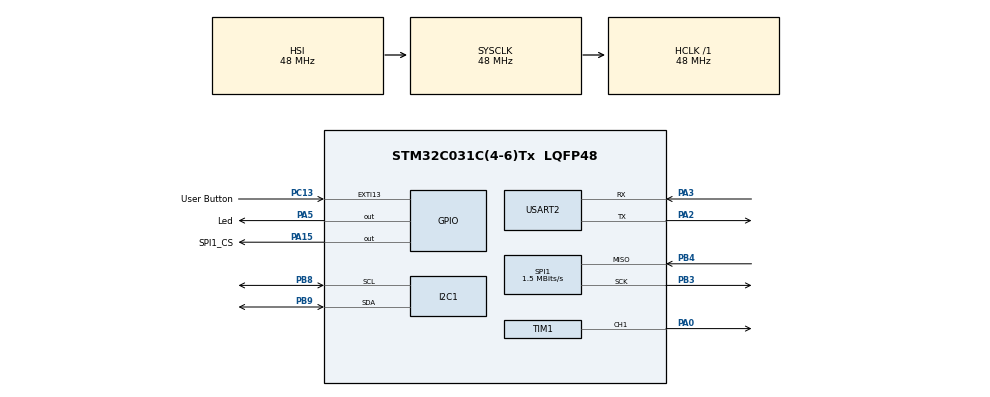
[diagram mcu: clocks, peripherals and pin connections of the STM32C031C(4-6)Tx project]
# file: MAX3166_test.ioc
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I2C1.Timing=0x20303E5D
Mcu.Family=STM32C0
Mcu.Name=STM32C031C(4-6)Tx
Mcu.Package=LQFP48
NVIC.EXTI4_15_IRQn=true\:0\:0\:false\:false\:true\:true\:true\:true
PA0.Signal=S_TIM1_CH1
PA13.Mode=Serial_Wire
PA13.Signal=DEBUG_SWDIO
PA14-BOOT0.Mode=Serial_Wire
PA14-BOOT0.Signal=DEBUG_SWCLK
PA15.GPIO_Label=SPI1_CS
PA15.Signal=GPIO_Output
PA2.Mode=Asynchronous
PA2.Signal=USART2_TX
PA3.Mode=Asynchronous
PA3.Signal=USART2_RX
PA5.GPIO_Label=Led
PA5.GPIO_Speed=GPIO_SPEED_FREQ_VERY_HIGH
PA5.PinState=GPIO_PIN_SET
PA5.Signal=GPIO_Output
PB3.Mode=RX_Only_Simplex_Unidirect_Master
PB3.Signal=SPI1_SCK
PB4.Mode=RX_Only_Simplex_Unidirect_Master
PB4.Signal=SPI1_MISO
PB6.Signal=USART1_TX
PB7.Signal=USART1_RX
PB8.Mode=I2C
PB8.Signal=I2C1_SCL
PB9.Mode=I2C
PB9.Signal=I2C1_SDA
PC13.GPIO_Label=User Button
PC13.Signal=GPXTI13
PC14-OSCX_IN\ (PC14).Mode=LSE-External-Oscillator
PC14-OSCX_IN\ (PC14).Signal=RCC_OSCX_IN
PC15-OSCX_OUT\ (PC15).Mode=LSE-External-Oscillator
PC15-OSCX_OUT\ (PC15).Signal=RCC_OSCX_OUT
PF0-OSC_IN\ (PF0).Mode=HSE-External-Oscillator
PF0-OSC_IN\ (PF0).Signal=RCC_OSC_IN
PF1-OSC_OUT\ (PF1).Mode=HSE-External-Oscillator
PF1-OSC_OUT\ (PF1).Signal=RCC_OSC_OUT
ProjectManager.HeapSize=0x200
ProjectManager.StackSize=0x400
ProjectManager.TargetToolchain=STM32CubeIDE
RCC.ADCFreq_Value=48000000
RCC.AHBFreq_Value=48000000
RCC.CortexFreq_Value=48000000
RCC.EXTERNAL_CLOCK_VALUE=12288000
RCC.HCLKFreq_Value=48000000
RCC.HSE_VALUE=48000000
RCC.HSISYSCLKDivider=RCC_HSI_DIV1
RCC.HSI_VALUE=48000000
RCC.SYSCLKFreq_VALUE=48000000
SH.S_TIM1_CH1.0=TIM1_CH1,PWM Generation1 CH1
SPI1.BaudRatePrescaler=SPI_BAUDRATEPRESCALER_32
SPI1.CalculateBaudRate=1.5 MBits/s
SPI1.Direction=SPI_DIRECTION_2LINES_RXONLY
SPI1.Mode=SPI_MODE_MASTER
SPI1.VirtualType=VM_MASTER
TIM1.AutoReloadPreload=TIM_AUTORELOAD_PRELOAD_ENABLE
TIM1.Channel-PWM\ Generation1\ CH1=TIM_CHANNEL_1
TIM1.Period=255
USART2.VirtualMode-Asynchronous=VM_ASYNC
board=NUCLEO-C031C6

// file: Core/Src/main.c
/* USER CODE BEGIN Header */
/**
  ******************************************************************************
  * @file           : main.c
  * @brief          : Main program body
  ******************************************************************************
  * @attention
  *
  * Copyright (c) 2024 STMicroelectronics.
  * All rights reserved.
  *
  * This software is licensed under terms that can be found in the LICENSE file
  * in the root directory of this software component.
  * If no LICENSE file comes with this software, it is provided AS-IS.
  *
  ******************************************************************************
  */
/* USER CODE END Header */
#include "main.h"

/* USER CODE BEGIN Includes */
#include <stdio.h>
#include "MAX31855.h"
#include <string.h>

/* USER CODE END Includes */

I2C_HandleTypeDef hi2c1;

SPI_HandleTypeDef hspi1;

TIM_HandleTypeDef htim1;

UART_HandleTypeDef huart2;

/* USER CODE BEGIN PV */
MAX31855_HandleTypeDef max31855;

/* USER CODE END PV */

void SystemClock_Config(void);
static void MX_GPIO_Init(void);
static void MX_SPI1_Init(void);
static void MX_USART2_UART_Init(void);
static void MX_I2C1_Init(void);
static void MX_TIM1_Init(void);

int main(void)
{

  /* USER CODE BEGIN 1 */
	char uart_buf[50];
	int uart_buf_len;

  /* USER CODE END 1 */

  /* MCU Configuration--------------------------------------------------------*/

  /* Reset of all peripherals, Initializes the Flash interface and the Systick. */
  HAL_Init();

  /* Configure the system clock */
  SystemClock_Config();

  /* Initialize all configured peripherals */
  MX_GPIO_Init();
  MX_SPI1_Init();
  MX_USART2_UART_Init();
  MX_I2C1_Init();
  MX_TIM1_Init();
  /* USER CODE BEGIN 2 */
  HAL_TIM_PWM_Start(&htim1, TIM_CHANNEL_1);

  /*
   * MISO is PB4/D5
   * CLK is PB3/D3
   * CS is PA15/D7
   */
  MAX_Init(&max31855, &hspi1, GPIO_PIN_15, GPIOA);

  //Say something
  uart_buf_len = sprintf(uart_buf, "SPI Test\r\n");
  HAL_UART_Transmit(&huart2, (uint8_t *) uart_buf, uart_buf_len, 100);

  uint16_t celcius = 0;

  /* USER CODE END 2 */

  /* Infinite loop */
  /* USER CODE BEGIN WHILE */
  while (1)
  {
	  celcius = MAX_GetCelcius(&max31855);

	  sprintf(uart_buf, "Temp in C: %d, SPI error:%lu\r\n", celcius, HAL_SPI_GetError(&hspi1));
	  HAL_UART_Transmit(&huart2, (uint8_t *) uart_buf, strlen(uart_buf), 100);

	  HAL_Delay(1000);

    /* USER CODE END WHILE */

  }
}

void SystemClock_Config(void)
{
  RCC_OscInitTypeDef RCC_OscInitStruct = {0};
  RCC_ClkInitTypeDef RCC_ClkInitStruct = {0};

  /** Initializes the RCC Oscillators according to the specified parameters
  * in the RCC_OscInitTypeDef structure.
  */
  RCC_OscInitStruct.OscillatorType = RCC_OSCILLATORTYPE_HSI;
  RCC_OscInitStruct.HSIState = RCC_HSI_ON;
  RCC_OscInitStruct.HSIDiv = RCC_HSI_DIV1;
  RCC_OscInitStruct.HSICalibrationValue = RCC_HSICALIBRATION_DEFAULT;
  if (HAL_RCC_OscConfig(&RCC_OscInitStruct) != HAL_OK)
  {
    Error_Handler();
  }

  /** Initializes the CPU, AHB and APB buses clocks
  */
  RCC_ClkInitStruct.ClockType = RCC_CLOCKTYPE_HCLK|RCC_CLOCKTYPE_SYSCLK
                              |RCC_CLOCKTYPE_PCLK1;
  RCC_ClkInitStruct.SYSCLKSource = RCC_SYSCLKSOURCE_HSI;
  RCC_ClkInitStruct.SYSCLKDivider = RCC_SYSCLK_DIV1;
  RCC_ClkInitStruct.AHBCLKDivider = RCC_HCLK_DIV1;
  RCC_ClkInitStruct.APB1CLKDivider = RCC_APB1_DIV1;

  if (HAL_RCC_ClockConfig(&RCC_ClkInitStruct, FLASH_LATENCY_1) != HAL_OK)
  {
    Error_Handler();
  }
}

static void MX_I2C1_Init(void)
{

  hi2c1.Instance = I2C1;
  hi2c1.Init.Timing = 0x20303E5D;
  hi2c1.Init.OwnAddress1 = 0;
  hi2c1.Init.AddressingMode = I2C_ADDRESSINGMODE_7BIT;
  hi2c1.Init.DualAddressMode = I2C_DUALADDRESS_DISABLE;
  hi2c1.Init.OwnAddress2 = 0;
  hi2c1.Init.OwnAddress2Masks = I2C_OA2_NOMASK;
  hi2c1.Init.GeneralCallMode = I2C_GENERALCALL_DISABLE;
  hi2c1.Init.NoStretchMode = I2C_NOSTRETCH_DISABLE;
  if (HAL_I2C_Init(&hi2c1) != HAL_OK)
  {
    Error_Handler();
  }

  /** Configure Analogue filter
  */
  if (HAL_I2CEx_ConfigAnalogFilter(&hi2c1, I2C_ANALOGFILTER_ENABLE) != HAL_OK)
  {
    Error_Handler();
  }

  /** Configure Digital filter
  */
  if (HAL_I2CEx_ConfigDigitalFilter(&hi2c1, 0) != HAL_OK)
  {
    Error_Handler();
  }

}

static void MX_SPI1_Init(void)
{

  /* SPI1 parameter configuration*/
  hspi1.Instance = SPI1;
  hspi1.Init.Mode = SPI_MODE_MASTER;
  hspi1.Init.Direction = SPI_DIRECTION_2LINES_RXONLY;
  hspi1.Init.DataSize = SPI_DATASIZE_8BIT;
  hspi1.Init.CLKPolarity = SPI_POLARITY_LOW;
  hspi1.Init.CLKPhase = SPI_PHASE_1EDGE;
  hspi1.Init.NSS = SPI_NSS_SOFT;
  hspi1.Init.BaudRatePrescaler = SPI_BAUDRATEPRESCALER_32;
  hspi1.Init.FirstBit = SPI_FIRSTBIT_MSB;
  hspi1.Init.TIMode = SPI_TIMODE_DISABLE;
  hspi1.Init.CRCCalculation = SPI_CRCCALCULATION_DISABLE;
  hspi1.Init.CRCPolynomial = 7;
  hspi1.Init.CRCLength = SPI_CRC_LENGTH_DATASIZE;
  hspi1.Init.NSSPMode = SPI_NSS_PULSE_ENABLE;
  if (HAL_SPI_Init(&hspi1) != HAL_OK)
  {
    Error_Handler();
  }

}

static void MX_TIM1_Init(void)
{

  TIM_MasterConfigTypeDef sMasterConfig = {0};
  TIM_OC_InitTypeDef sConfigOC = {0};
  TIM_BreakDeadTimeConfigTypeDef sBreakDeadTimeConfig = {0};

  htim1.Instance = TIM1;
  htim1.Init.Prescaler = 0;
  htim1.Init.CounterMode = TIM_COUNTERMODE_UP;
  htim1.Init.Period = 255;
  htim1.Init.ClockDivision = TIM_CLOCKDIVISION_DIV1;
  htim1.Init.RepetitionCounter = 0;
  htim1.Init.AutoReloadPreload = TIM_AUTORELOAD_PRELOAD_ENABLE;
  if (HAL_TIM_PWM_Init(&htim1) != HAL_OK)
  {
    Error_Handler();
  }
  sMasterConfig.MasterOutputTrigger = TIM_TRGO_RESET;
  sMasterConfig.MasterOutputTrigger2 = TIM_TRGO2_RESET;
  sMasterConfig.MasterSlaveMode = TIM_MASTERSLAVEMODE_DISABLE;
  if (HAL_TIMEx_MasterConfigSynchronization(&htim1, &sMasterConfig) != HAL_OK)
  {
    Error_Handler();
  }
  sConfigOC.OCMode = TIM_OCMODE_PWM1;
  sConfigOC.Pulse = 0;
  sConfigOC.OCPolarity = TIM_OCPOLARITY_HIGH;
  sConfigOC.OCNPolarity = TIM_OCNPOLARITY_HIGH;
  sConfigOC.OCFastMode = TIM_OCFAST_DISABLE;
  sConfigOC.OCIdleState = TIM_OCIDLESTATE_RESET;
  sConfigOC.OCNIdleState = TIM_OCNIDLESTATE_RESET;
  if (HAL_TIM_PWM_ConfigChannel(&htim1, &sConfigOC, TIM_CHANNEL_1) != HAL_OK)
  {
    Error_Handler();
  }
  sBreakDeadTimeConfig.OffStateRunMode = TIM_OSSR_DISABLE;
  sBreakDeadTimeConfig.OffStateIDLEMode = TIM_OSSI_DISABLE;
  sBreakDeadTimeConfig.LockLevel = TIM_LOCKLEVEL_OFF;
  sBreakDeadTimeConfig.DeadTime = 0;
  sBreakDeadTimeConfig.BreakState = TIM_BREAK_DISABLE;
  sBreakDeadTimeConfig.BreakPolarity = TIM_BREAKPOLARITY_HIGH;
  sBreakDeadTimeConfig.BreakFilter = 0;
  sBreakDeadTimeConfig.BreakAFMode = TIM_BREAK_AFMODE_INPUT;
  sBreakDeadTimeConfig.Break2State = TIM_BREAK2_DISABLE;
  sBreakDeadTimeConfig.Break2Polarity = TIM_BREAK2POLARITY_HIGH;
  sBreakDeadTimeConfig.Break2Filter = 0;
  sBreakDeadTimeConfig.Break2AFMode = TIM_BREAK_AFMODE_INPUT;
  sBreakDeadTimeConfig.AutomaticOutput = TIM_AUTOMATICOUTPUT_DISABLE;
  if (HAL_TIMEx_ConfigBreakDeadTime(&htim1, &sBreakDeadTimeConfig) != HAL_OK)
  {
    Error_Handler();
  }
  HAL_TIM_MspPostInit(&htim1);

}

static void MX_USART2_UART_Init(void)
{

  huart2.Instance = USART2;
  huart2.Init.BaudRate = 115200;
  huart2.Init.WordLength = UART_WORDLENGTH_8B;
  huart2.Init.StopBits = UART_STOPBITS_1;
  huart2.Init.Parity = UART_PARITY_NONE;
  huart2.Init.Mode = UART_MODE_TX_RX;
  huart2.Init.HwFlowCtl = UART_HWCONTROL_NONE;
  huart2.Init.OverSampling = UART_OVERSAMPLING_16;
  huart2.Init.OneBitSampling = UART_ONE_BIT_SAMPLE_DISABLE;
  huart2.Init.ClockPrescaler = UART_PRESCALER_DIV1;
  huart2.AdvancedInit.AdvFeatureInit = UART_ADVFEATURE_NO_INIT;
  if (HAL_UART_Init(&huart2) != HAL_OK)
  {
    Error_Handler();
  }

}

static void MX_GPIO_Init(void)
{
  GPIO_InitTypeDef GPIO_InitStruct = {0};

  /* GPIO Ports Clock Enable */
  __HAL_RCC_GPIOC_CLK_ENABLE();
  __HAL_RCC_GPIOF_CLK_ENABLE();
  __HAL_RCC_GPIOA_CLK_ENABLE();
  __HAL_RCC_GPIOB_CLK_ENABLE();

  /*Configure GPIO pin Output Level */
  HAL_GPIO_WritePin(Led_GPIO_Port, Led_Pin, GPIO_PIN_SET);

  /*Configure GPIO pin Output Level */
  HAL_GPIO_WritePin(SPI1_CS_GPIO_Port, SPI1_CS_Pin, GPIO_PIN_RESET);

  /*Configure GPIO pin : User_Button_Pin */
  GPIO_InitStruct.Pin = User_Button_Pin;
  GPIO_InitStruct.Mode = GPIO_MODE_IT_RISING;
  GPIO_InitStruct.Pull = GPIO_NOPULL;
  HAL_GPIO_Init(User_Button_GPIO_Port, &GPIO_InitStruct);

  /*Configure GPIO pin : Led_Pin */
  GPIO_InitStruct.Pin = Led_Pin;
  GPIO_InitStruct.Mode = GPIO_MODE_OUTPUT_PP;
  GPIO_InitStruct.Pull = GPIO_NOPULL;
  GPIO_InitStruct.Speed = GPIO_SPEED_FREQ_VERY_HIGH;
  HAL_GPIO_Init(Led_GPIO_Port, &GPIO_InitStruct);

  /*Configure GPIO pin : SPI1_CS_Pin */
  GPIO_InitStruct.Pin = SPI1_CS_Pin;
  GPIO_InitStruct.Mode = GPIO_MODE_OUTPUT_PP;
  GPIO_InitStruct.Pull = GPIO_NOPULL;
  GPIO_InitStruct.Speed = GPIO_SPEED_FREQ_LOW;
  HAL_GPIO_Init(SPI1_CS_GPIO_Port, &GPIO_InitStruct);

  /*Configure GPIO pins : PB6 PB7 */
  GPIO_InitStruct.Pin = GPIO_PIN_6|GPIO_PIN_7;
  GPIO_InitStruct.Mode = GPIO_MODE_AF_PP;
  GPIO_InitStruct.Pull = GPIO_NOPULL;
  GPIO_InitStruct.Speed = GPIO_SPEED_FREQ_LOW;
  GPIO_InitStruct.Alternate = GPIO_AF0_USART1;
  HAL_GPIO_Init(GPIOB, &GPIO_InitStruct);

  /* EXTI interrupt init*/
  HAL_NVIC_SetPriority(EXTI4_15_IRQn, 0, 0);
  HAL_NVIC_EnableIRQ(EXTI4_15_IRQn);

}

void Error_Handler(void)
{
  __disable_irq();
  while (1)
  {
  }
}
